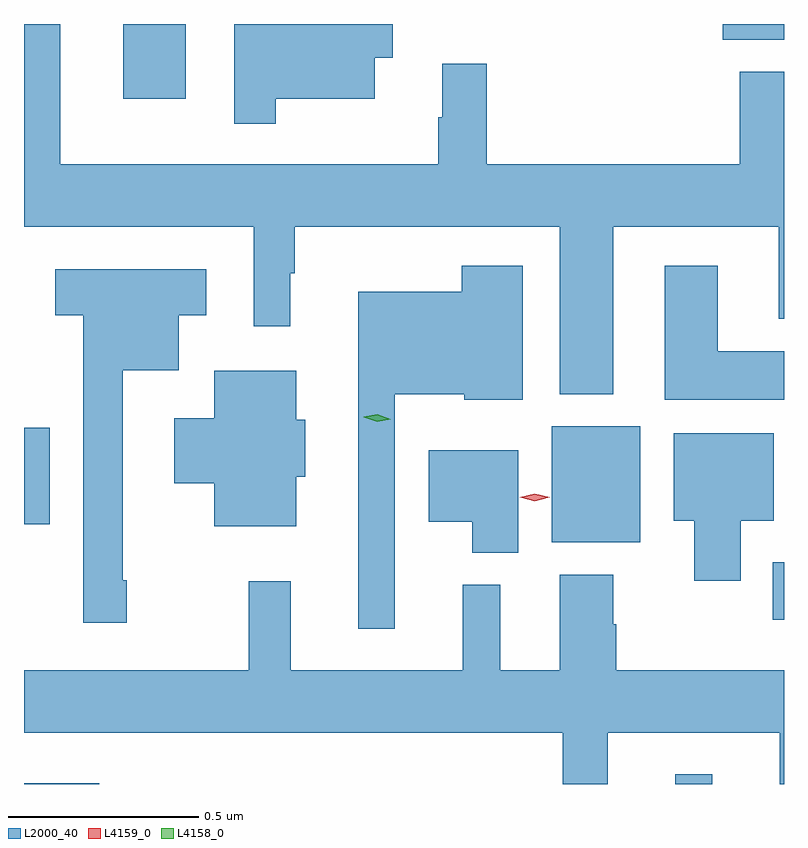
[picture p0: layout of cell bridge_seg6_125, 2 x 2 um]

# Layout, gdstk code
import gdstk
lib = gdstk.Library(unit=1e-6, precision=1e-09)
def R(c, l, rs):  # rectangles x0, y0, x1, y1
    for r in rs: c.add(gdstk.rectangle(r[:2], r[2:], *l))
def P(c, l, *ps):  # polygons
    for p in ps: c.add(gdstk.Polygon(p, *l))
L2000_40 = (2000, 40)
L4158_0 = (4158, 0)
L4159_0 = (4159, 0)

bridge_seg6_125 = lib.new_cell('bridge_seg6_125')
R(bridge_seg6_125, L2000_40, [(494.969,973.841,495.167,973.843), (496.683,973.841,496.78,973.867), (496.94,974.273,496.969,974.425), (496.358,974.477,496.591,974.782), (494.969,974.525,495.037,974.779), (495.23,975.644,495.394,975.841), (496.808,975.8,496.969,975.841)])
P(bridge_seg6_125, L2000_40, [(496.519,975.308),(496.955,975.308),(496.955,975.065),(496.969,975.065),(496.969,975.715),(496.853,975.715),(496.853,975.472),(496.187,975.472),(496.187,975.736),(496.07,975.736),(496.07,975.596),(496.059,975.596),(496.059,975.472),(495.064,975.472),(495.064,975.841),(494.969,975.841),(494.969,975.308),(495.573,975.308),(495.573,975.045),(495.67,975.045),(495.67,975.185),(495.682,975.185),(495.682,975.308),(496.379,975.308),(496.379,974.867),(496.519,974.867)],
  [(495.631,975.644),(495.892,975.644),(495.892,975.752),(495.94,975.752),(495.94,975.841),(495.522,975.841),(495.522,975.579),(495.631,975.579)],
  [(496.969,974.98),(496.795,974.98),(496.795,975.205),(496.655,975.205),(496.655,974.852),(496.969,974.852)],
  [(495.945,974.867),(496.128,974.867),(496.128,974.852),(496.282,974.852),(496.282,975.205),(496.121,975.205),(496.121,975.136),(495.848,975.136),(495.848,974.25),(495.945,974.25)],
  [(495.239,974.377),(495.229,974.377),(495.229,974.93),(495.376,974.93),(495.376,975.074),(495.448,975.074),(495.448,975.196),(495.051,975.196),(495.051,975.074),(495.125,975.074),(495.125,974.265),(495.239,974.265)],
  [(495.685,974.649),(495.709,974.649),(495.709,974.799),(495.685,974.799),(495.685,974.929),(495.47,974.929),(495.47,974.803),(495.365,974.803),(495.365,974.633),(495.47,974.633),(495.47,974.519),(495.685,974.519)],
  [(496.855,974.534),(496.942,974.534),(496.942,974.764),(496.679,974.764),(496.679,974.534),(496.733,974.534),(496.733,974.376),(496.855,974.376)],
  [(496.27,974.719),(496.034,974.719),(496.034,974.531),(496.148,974.531),(496.148,974.45),(496.27,974.45)],
  [(496.505,973.976),(496.958,973.976),(496.958,973.841),(496.969,973.841),(496.969,974.14),(496.527,974.14),(496.527,974.261),(496.519,974.261),(496.519,974.392),(496.379,974.392),(496.379,974.14),(496.222,974.14),(496.222,974.365),(496.124,974.365),(496.124,974.14),(495.671,974.14),(495.671,974.374),(495.561,974.374),(495.561,974.14),(494.969,974.14),(494.969,973.976),(496.387,973.976),(496.387,973.841),(496.505,973.841)])
P(bridge_seg6_125, L4158_0, [(495.898,974.794),(495.863,974.806),(495.863,974.806),(495.863,974.807),(495.899,974.814),(495.934,974.801),(495.934,974.801),(495.934,974.801)])
P(bridge_seg6_125, L4159_0, [(496.313,974.585),(496.274,974.595),(496.274,974.595),(496.274,974.595),(496.313,974.605),(496.352,974.595),(496.352,974.595),(496.352,974.595)])

lib.write_gds('bridge_seg6_125.gds')
